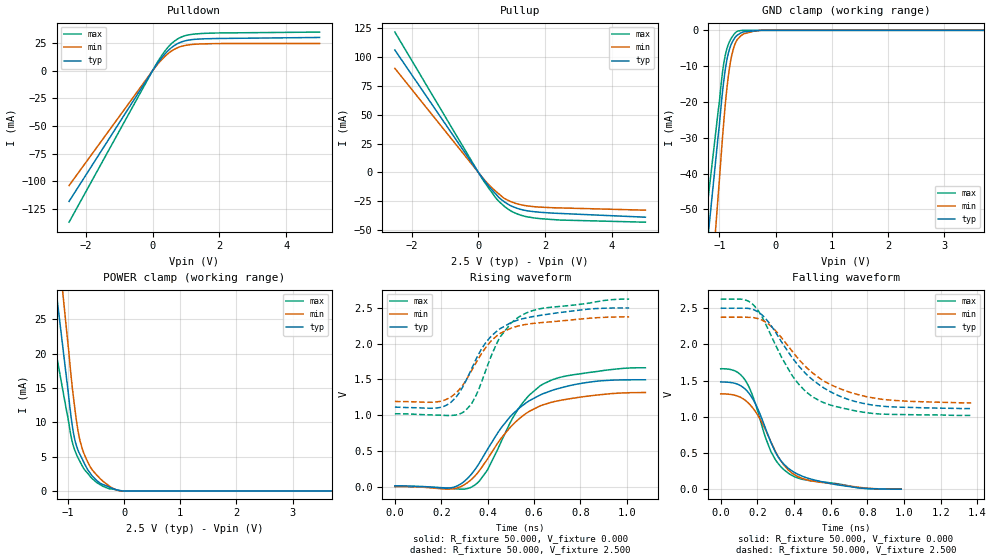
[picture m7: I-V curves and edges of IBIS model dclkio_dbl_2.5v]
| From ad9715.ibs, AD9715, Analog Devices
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[Model]   dclkio_dbl_2.5v
Model_type I/O
Vinl=7.500E-01
Vinh=1.750E+00
Vref=0.000E+00
Rref=1.000E+06
Cref=0.000E+00
Vmeas=1.250E+00
C_comp   6.290E-13   6.240E-13   6.330E-13
[Voltage Range]   2.500E+00   2.375E+00   2.625E+00
[POWER Clamp Reference]   2.500E+00   2.375E+00   2.625E+00
[GND Clamp Reference]   0.000E+00   0.000E+00   0.000E+00
[Pullup Reference]   2.500E+00   2.375E+00   2.625E+00
[Pulldown Reference]   0.000E+00   0.000E+00   0.000E+00
[Temperature Range]   25   85   -40
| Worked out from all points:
|   slope of the pulldown table from 0 to 0.375 V, typ, clamps not added: 24.5 ohm
|   slope of the pullup table from 0 to 0.375 V, typ, clamps not added: 26.5 ohm
|   GND clamp passes 1 mA (typ) near -0.65 V on its own axis
|   POWER clamp passes 1 mA (typ) near -0.39 V on its own axis
|   rising waveform, R_fixture 50.000, V_fixture 0.000: 20-80 % time 218ps typ, 207ps min, 183ps max; typ from 0.01 V to 1.5 V
|   falling waveform, R_fixture 50.000, V_fixture 0.000: 20-80 % time 177ps typ, 175ps min, 153ps max; typ from 1.48 V to 0 V
|   rising waveform, R_fixture 50.000, V_fixture 2.500: 20-80 % time 169ps typ, 157ps min, 148ps max; typ from 1.11 V to 2.5 V
|   falling waveform, R_fixture 50.000, V_fixture 2.500: 20-80 % time 283ps typ, 297ps min, 228ps max; typ from 2.5 V to 1.11 V
[GND Clamp]
-2.5V     -260.2mA   -353.4mA   -224.5mA
-1.02V    -29.06mA   -45.59mA   -22.19mA
-960mV    -19.4mA    -32.95mA   -13.58mA
-920mV    -13.74mA   -24.98mA   -8.929mA
-880mV    -9.336mA   -18.09mA   -5.853mA
-840mV    -6.278mA   -12.58mA   -3.868mA
-780mV    -3.517mA   -6.862mA   -1.969mA
-740mV    -2.389mA   -4.517mA   -1.073mA
-680mV    -1.316mA   -2.528mA   -252uA
-560mV    -402.9uA   -950uA     0A
-260mV    0A         0A         0A
5V        0A         0A         0A
[Power Clamp]
-2.5V     118.1mA    144.2mA    78.68mA
-2.46V    115.4mA    140.6mA    76.73mA
-1.02V    16.26mA    23.28mA    11.59mA
-940mV    10.68mA    16.63mA    7.889mA
-900mV    8.485mA    13.72mA    6.538mA
-840mV    6.428mA    9.894mA    5.214mA
-780mV    5.252mA    7.227mA    4.232mA
-720mV    4.253mA    5.607mA    3.305mA
-600mV    2.561mA    3.505mA    2.084mA
-360mV    897.7uA    1.311mA    617.8uA
-80mV     58.72uA    6.468uA    49.85uA
5V        0A         0A         0A
[Pullup]
-2.5V     106.3mA    90.35mA    121.9mA
100mV     -3.974mA   -3.639mA   -4.771mA
320mV     -12.26mA   -10.91mA   -14.13mA
520mV     -18.71mA   -16.39mA   -22.15mA
620mV     -21.94mA   -18.8mA    -25.28mA
800mV     -26.04mA   -22.93mA   -29.98mA
1V        -29.38mA   -25.73mA   -33.9mA
1.2V      -31.58mA   -27.61mA   -36.46mA
1.44V     -33.19mA   -28.96mA   -38.46mA
1.84V     -34.61mA   -30.15mA   -40.11mA
2.46V     -35.66mA   -30.85mA   -41.38mA
5V        -38.89mA   -32.8mA    -43.23mA
[Pulldown]
-2.5V     -118.1mA   -103.8mA   -136.9mA
80mV      3.665mA    3.174mA    4.306mA
360mV     14.78mA    12.67mA    17.37mA
520mV     19.71mA    16.82mA    23.17mA
620mV     22.14mA    18.83mA    25.95mA
800mV     25.26mA    21.44mA    29.59mA
980mV     27.08mA    22.91mA    31.74mA
1.44V     28.72mA    24.21mA    33.62mA
5V        30.08mA    24.65mA    34.94mA
[Rising Waveform]
R_fixture = 50.000
V_fixture = 0.000
V_fixture_min = 0.000
V_fixture_max = 0.000
|  time   V(typ)   V(min)   V(max)
0s        10.22mV    0V         0V
240ps     -18.96mV   -34.55mV   -25.41mV
330ps     173.9mV    98.64mV    -8.415mV
397.5ps   511.2mV    376.4mV    223.9mV
495ps     970.2mV    820.9mV    881mV
565ps     1.17V      1.023V     1.228V
625ps     1.28V      1.128V     1.407V
705ps     1.373V     1.201V     1.523V
825ps     1.456V     1.263V     1.591V
1.08ns    1.495V     1.317V     1.663V
[Falling Waveform]
R_fixture = 50.000
V_fixture = 0.000
V_fixture_min = 0.000
V_fixture_max = 0.000
|  time   V(typ)   V(min)   V(max)
0s        1.481V     1.317V     1.663V
80ps      1.46V      1.295V     1.631V
135ps     1.38V      1.226V     1.5V
190ps     1.176V     1.071V     1.176V
272.5ps   654.1mV    662.8mV    526.8mV
315ps     439.4mV    445.1mV    349.2mV
372.5ps   281.5mV    257.1mV    214.6mV
455ps     169.2mV    139.7mV    131.2mV
625ps     64.96mV    69.94mV    78.58mV
985ps     0V         0V         0V
[Rising Waveform]
R_fixture = 50.000
V_fixture = 2.500
V_fixture_min = 2.380
V_fixture_max = 2.630
|  time   V(typ)   V(min)   V(max)
0s        1.113V     1.191V     1.019V
207.5ps   1.118V     1.204V     997.1mV
260ps     1.238V     1.3V       1V
302.5ps   1.456V     1.466V     1.058V
350ps     1.784V     1.734V     1.276V
412.5ps   2.095V     2.03V      1.805V
455ps     2.213V     2.146V     2.099V
500ps     2.294V     2.217V     2.285V
562.5ps   2.358V     2.269V     2.424V
1.01ns    2.5V       2.375V     2.625V
[Falling Waveform]
R_fixture = 50.000
V_fixture = 2.500
V_fixture_min = 2.380
V_fixture_max = 2.630
|  time   V(typ)   V(min)   V(max)
0s        2.5V       2.375V     2.625V
125ps     2.5V       2.375V     2.62V
182.5ps   2.477V     2.368V     2.535V
265ps     2.295V     2.272V     2.176V
395ps     1.8V       1.889V     1.551V
472.5ps   1.575V     1.67V      1.331V
552.5ps   1.416V     1.51V      1.205V
682.5ps   1.252V     1.358V     1.11V
835ps     1.159V     1.259V     1.045V
1.367ns   1.113V     1.191V     1.019V
[Ramp]
dV/dt_r   8.9063E-01/2.1792E-10   7.7935E-01/2.0563E-10   9.9594E-01/1.7917E-10
dV/dt_f   8.3249E-01/2.8320E-10   7.1068E-01/2.9656E-10   9.6372E-01/2.2750E-10
R_load = 50
